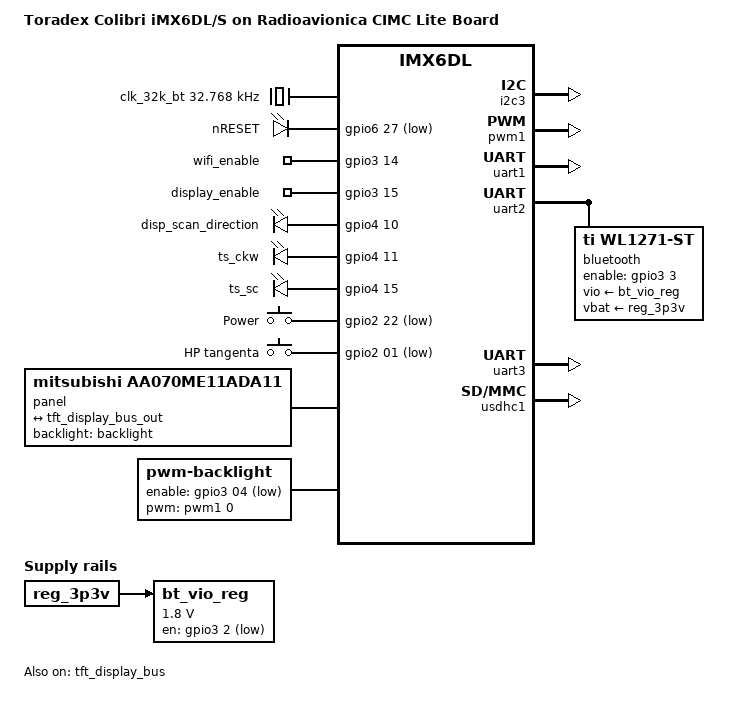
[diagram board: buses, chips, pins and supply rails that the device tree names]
/*
 * Copyright 2014-2016 Toradex AG
 * Copyright 2012 Freescale Semiconductor, Inc.
 * Copyright 2011 Linaro Ltd.
 *
 * This file is dual-licensed: you can use it either under the terms
 * of the GPL or the X11 license, at your option. Note that this dual
 * licensing only applies to this file, and not this project as a
 * whole.
 *
 *  a) This file is free software; you can redistribute it and/or
 *     modify it under the terms of the GNU General Public License
 *     version 2 as published by the Free Software Foundation.
 *
 *     This file is distributed in the hope that it will be useful
 *     but WITHOUT ANY WARRANTY; without even the implied warranty of
 *     MERCHANTABILITY or FITNESS FOR A PARTICULAR PURPOSE.  See the
 *     GNU General Public License for more details.
 *
 * Or, alternatively
 *
 *  b) Permission is hereby granted, free of charge, to any person
 *     obtaining a copy of this software and associated documentation
 *     files (the "Software"), to deal in the Software without
 *     restriction, including without limitation the rights to use
 *     copy, modify, merge, publish, distribute, sublicense, and/or
 *     sell copies of the Software, and to permit persons to whom the
 *     Software is furnished to do so, subject to the following
 *     conditions:
 *
 *     The above copyright notice and this permission notice shall be
 *     included in all copies or substantial portions of the Software.
 *
 *     THE SOFTWARE IS PROVIDED , WITHOUT WARRANTY OF ANY KIND
 *     EXPRESS OR IMPLIED, INCLUDING BUT NOT LIMITED TO THE WARRANTIES
 *     OF MERCHANTABILITY, FITNESS FOR A PARTICULAR PURPOSE AND
 *     NONINFRINGEMENT. IN NO EVENT SHALL THE AUTHORS OR COPYRIGHT
 *     HOLDERS BE LIABLE FOR ANY CLAIM, DAMAGES OR OTHER LIABILITY
 *     WHETHER IN AN ACTION OF CONTRACT, TORT OR OTHERWISE, ARISING
 *     FROM, OUT OF OR IN CONNECTION WITH THE SOFTWARE OR THE USE OR
 *     OTHER DEALINGS IN THE SOFTWARE.
 */

/dts-v1/;

#include <dt-bindings/input/input.h>
#include <dt-bindings/interrupt-controller/irq.h>
#include "imx6dl.dtsi"
#include "imx6qdl-colibri-ravion.dtsi"

/ {
	model = "Toradex Colibri iMX6DL/S on Radioavionica CIMC Lite Board";
	compatible = "toradex,mcp", "toradex,colibri_imx6dl-eval",
		"toradex,colibri_imx6dl", "fsl,imx6dl";

	/*
	 * Device specific clocks
	 */
	clocks {
		clk_32k_bt: bt_clk {
			compatible = "fixed-clock";
			#clock-cells = <0>;
			clock-frequency = <32768>;
			clock-accuracy = <100>;
		 };
	};

	/*
	 * Device specific regulators
	 */
	bt_vio_reg: bt_vio {
			pinctrl-names = "default";
			pinctrl-0 = <&pinctrl_reg_bt_cif>;
			compatible = "regulator-fixed";
			regulator-name = "VIO_BT";
			regulator-min-microvolt = <1800000>;
			regulator-max-microvolt = <1800000>;
			gpio = <&gpio3 2 GPIO_ACTIVE_LOW>;
			regulator-always-on;
			vin-supply = <&reg_3p3v>;
	};

	/*
	 * Device specific leds
	 */
	gpio-leds {
		compatible = "gpio-leds";
		pinctrl-names = "default";
		pinctrl-0 = <&pinctrl_gpio_leds>;

		nreset {
			label = "nRESET";
			gpios = <&gpio6 27 GPIO_ACTIVE_LOW>;
			default-state = "off";
		};

		wifi_en {
			label = "wifi_enable";
			gpios = <&gpio3 14 GPIO_ACTIVE_HIGH>; /* SODIMM 122 */
			default-state = "off";
		};

		disp_en {
			label = "display_enable";
			gpios = <&gpio3 15 GPIO_ACTIVE_HIGH>; /* SODIMM 124 */
			default-state = "on";
		};

		scan_dir {
			label = "disp_scan_direction";
			gpios = <&gpio4 10 GPIO_ACTIVE_HIGH>; /* SODIMM 184 */
			default-state = "on";
		};

		ts_ckw {
			label = "ts_ckw";
			gpios = <&gpio4 11 GPIO_ACTIVE_HIGH>; /* SODIMM 186 */
			default-state = "off";
		};

		ts_sc {
			label = "ts_sc";
			gpios = <&gpio4 15 GPIO_ACTIVE_HIGH>; /* SODIMM 188 */
			default-state = "off";
		};
	};

	/*
	 * Device specific keys
	 */
	gpio-keys {
		compatible = "gpio-keys";
		pinctrl-names = "default";
		pinctrl-0 = <&pinctrl_gpio_keys>;

		power {
			label = "Power";
			gpios = <&gpio2 22 GPIO_ACTIVE_LOW>; /* SODIMM 45 */
			linux,code = <KEY_POWER>;
			debounce-interval = <100>;
			wakeup-source;
		};

		hp_tangenta {
			label = "HP tangenta";
			gpios = <&gpio2 01 GPIO_ACTIVE_LOW>; /* SODIMM 134 */
			linux,code = <KEY_F1>;
			debounce-interval = <100>;
		};
	};

	/*
	 * LCD Panel
	 */
	panel {
		compatible = "mitsubishi,aa070me11ada11";
		backlight = <&backlight>;

		port {
			lcd_panel_in: endpoint {
				remote-endpoint = <&tft_display_bus_out>;
			};
		};
	};

	backlight: backlight {
		pinctrl-names = "default";
		pinctrl-0 = <&pinctrl_gpio_bl_on>;
		compatible = "pwm-backlight";
		enable-gpios = <&gpio3 04 GPIO_ACTIVE_LOW>;	/* soDimm 119 */
		pwms = <&pwm1 0 2000>; /* FixMe: frequency !!! */
		brightness-levels = <0 31 63 95 127 159 191 223 255>;
		default-brightness-level = <5>;
		status = "okay";
	};
};

/*
 * Display subsystem
 */
&tft_display_bus {
	interface-pix-fmt = "bgr666";
	status = "okay";
};

&tft_display_bus_out {
	remote-endpoint = <&lcd_panel_in>;
};


/*
 * Colibri I2C: I2C3_SDA/SCL on SODIMM 194/196 (e.g. RTC on carrier board)
 */
&i2c3 {
	status = "okay";

	i2c_bus_mux: mux@70 { /* I2C bus multiplexer/switch */
		status = "disabled";
		compatible = "nxp,pca9541";
		#address-cells = <1>;
		#size-cells = <0>;
		reg = <0x70>;

		i2c@1 {
			#address-cells = <1>;
			#size-cells = <0>;
			reg = <1>;
			/* Texas Instruments SBS-compatible Fuel Gauge Controller */
			battery1: bq20z655@0b {
				status = "okay";
				compatible = "sbs,sbs-battery";
				reg = <0x0b>;
				sbs,i2c-retry-count = <2>;
				sbs,poll-retry-count = <1>;
			};
		};

		i2c@2 {
			#address-cells = <1>;
			#size-cells = <0>;
			reg = <2>;
			/* Texas Instruments SBS-compatible Fuel Gauge Controller */
			battery2: bq20z655@ob {
				status = "okay";
				compatible = "sbs,sbs-battery";
				reg = <0x0b>;
				sbs,i2c-retry-count = <2>;
				sbs,poll-retry-count = <1>;
			};
		};
	};

	/* Texas Instruments SBS-compatible Fuel Gauge Controller */
	battery0: bq20z655@0b {
		status = "disabled";
		compatible = "sbs,sbs-battery";
		reg = <0x0b>;
		sbs,i2c-retry-count = <2>;
		sbs,poll-retry-count = <1>;
	};
};

/* Only pwm1 used as bright contol, all other - disabled  */
&pwm1 { status = "okay";	}; /* soDimm 28 - LCD bright */

/* uart1 - sys (3w), uart2 - bluetoth (H3), uart3 disabled by default */
&uart1 { status = "okay"; }; /* default full feature uart */
&uart2 { /* default have CTS/RTS pins */
	status = "okay";

	bluetooth {
		pinctrl-names = "default";
		pinctrl-0 = <&pinctrl_bluetooth>;

		enable-gpios	= <&gpio3 3 GPIO_ACTIVE_HIGH>;
		compatible	= "ti,wl1271-st";
		clocks		= <&clk_32k_bt 0>;
		clock-names	= "ext_clock";
		max-speed	= <3686400>;
		/*
		 * Params not found in source, but described in documentation
		 */
		current-speed	= <115200>;
		vio-supply	= <&bt_vio_reg>;
		vbat-supply	= <&reg_3p3v>;
		status = "okay";
	};
};
&uart3 { status = "okay"; }; /* default 3-wire uart */

/* external mmc card */
&usdhc1 { status = "okay"; };

/* Board specific io muxing */
&iomuxc {
	pinctrl_gpio_bl_on: gpioblon {
		fsl,pins = <
			MX6QDL_PAD_EIM_DA4__GPIO3_IO04	0x1b0b0 /* soDimm 119 */
		>;
	};

	pinctrl_bluetooth: gpio-bluetooth {
		fsl,pins = <
			MX6QDL_PAD_EIM_DA3__GPIO3_IO03	0x0f058 /* PU_22K soDimm 117 - nBT_PDN */
		>;
	};

	pinctrl_reg_bt_cif: gpio-reg-bt-cif {
		fsl,pins = <
			MX6QDL_PAD_EIM_DA2__GPIO3_IO02	0x0f058 /* PU_22K soDimm 115: CIF_BT_PWR */
		>;
	};

	pinctrl_gpio_leds: gpio-leds {
		fsl,pins = <
			MX6QDL_PAD_RGMII_RD1__GPIO6_IO27 0xf058 /* PU_22K interal RGMII_RD1 - nRESET OUT */
			MX6QDL_PAD_EIM_DA14__GPIO3_IO14  0xf058 /* PU_22K - soDimm 122. DISP EN */
			MX6QDL_PAD_EIM_DA15__GPIO3_IO15  0xf058 /* PU_22K - soDimm 124. DISP EN */
			MX6QDL_PAD_KEY_COL2__GPIO4_IO10  0xf058 /* PU_22K - soDimm 184. DISP SD */
			MX6QDL_PAD_KEY_ROW2__GPIO4_IO11  0xf058 /* PU_22K - soDimm 186. TS CKW */
			MX6QDL_PAD_KEY_ROW4__GPIO4_IO15	 0xf058 /* PU_22K - soDimm 188. TS_SC */
		>;
	};

	pinctrl_gpio_keys: gpiokeys {
		fsl,pins = <
			MX6QDL_PAD_EIM_A16__GPIO2_IO22		0x1b0b0	/* Power button */
			MX6QDL_PAD_NANDF_D1__GPIO2_IO01		0x1b0b0 /* Tangenta soDimm 134 */
		>;
	};
};
